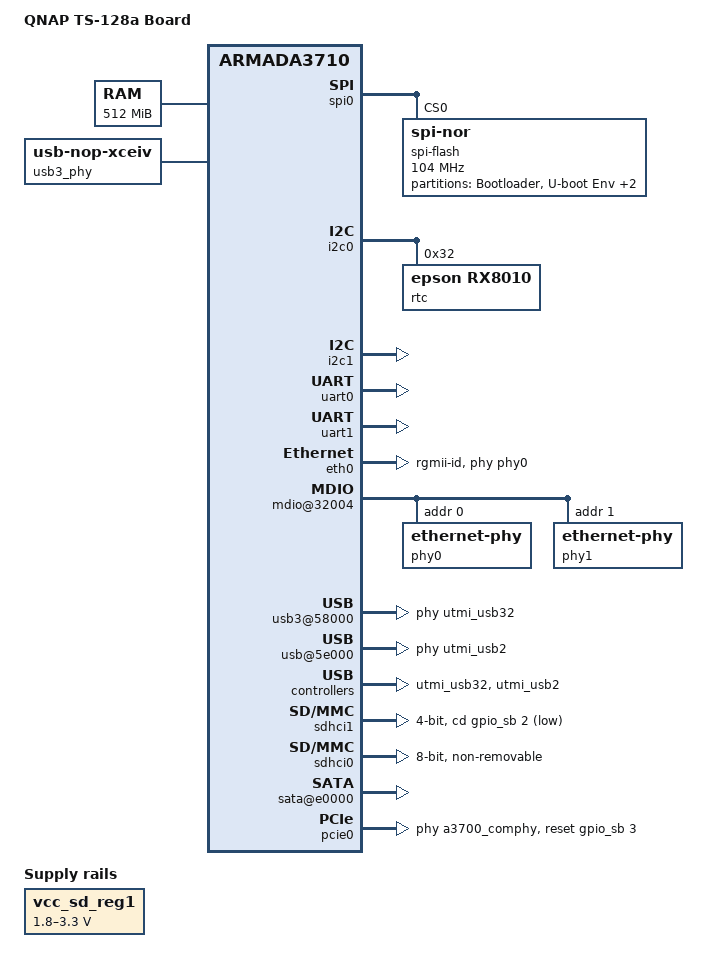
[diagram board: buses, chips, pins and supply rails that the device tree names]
/*
 * Device Tree file for Marvell Armada 3720 development board
 * (DB-88F3720-DDR3)
 * Copyright (C) 2016 Marvell
 *
 * Gregory CLEMENT <gregory.clement@free-electrons.com>
 *
 * This file is dual-licensed: you can use it either under the terms
 * of the GPL or the X11 license, at your option. Note that this dual
 * licensing only applies to this file, and not this project as a
 * whole.
 *
 *  a) This file is free software; you can redistribute it and/or
 *     modify it under the terms of the GNU General Public License as
 *     published by the Free Software Foundation; either version 2 of the
 *     License, or (at your option) any later version.
 *
 *     This file is distributed in the hope that it will be useful
 *     but WITHOUT ANY WARRANTY; without even the implied warranty of
 *     MERCHANTABILITY or FITNESS FOR A PARTICULAR PURPOSE.  See the
 *     GNU General Public License for more details.
 *
 * Or, alternatively
 *
 *  b) Permission is hereby granted, free of charge, to any person
 *     obtaining a copy of this software and associated documentation
 *     files (the "Software"), to deal in the Software without
 *     restriction, including without limitation the rights to use
 *     copy, modify, merge, publish, distribute, sublicense, and/or
 *     sell copies of the Software, and to permit persons to whom the
 *     Software is furnished to do so, subject to the following
 *     conditions:
 *
 *     The above copyright notice and this permission notice shall be
 *     included in all copies or substantial portions of the Software.
 *
 *     THE SOFTWARE IS PROVIDED , WITHOUT WARRANTY OF ANY KIND
 *     EXPRESS OR IMPLIED, INCLUDING BUT NOT LIMITED TO THE WARRANTIES
 *     OF MERCHANTABILITY, FITNESS FOR A PARTICULAR PURPOSE AND
 *     NONINFRINGEMENT. IN NO EVENT SHALL THE AUTHORS OR COPYRIGHT
 *     HOLDERS BE LIABLE FOR ANY CLAIM, DAMAGES OR OTHER LIABILITY
 *     WHETHER IN AN ACTION OF CONTRACT, TORT OR OTHERWISE, ARISING
 *     FROM, OUT OF OR IN CONNECTION WITH THE SOFTWARE OR THE USE OR
 *     OTHER DEALINGS IN THE SOFTWARE.
 */

/dts-v1/;

#include "armada-372x.dtsi"

/ {
	model = "QNAP TS-128a Board";
	compatible = "marvell,armada-3720-db", "marvell,armada3720", "marvell,armada3710";

	chosen {
		stdout-path = "serial0:115200n8";
	};

	memory {
		device_type = "memory";
		reg = <0x00000000 0x00000000 0x00000000 0x20000000>;
	};

	soc {
		internal-regs {
			spi0: spi@10600 {
				status = "okay";

				spi-flash@0 {
					#address-cells = <1>;
					#size-cells = <1>;
					compatible = "jedec,spi-nor";
					reg = <0>; /* Chip select 0 */
					spi-max-frequency = <104000000>;
					m25p,fast-read;

					pinctrl-names = "default";
					pinctrl-0 = <&spi0_pins &spi_quad_pins>;


					partition@0 {
						label = "Bootloader";
						reg = <0 0x100000>;
					};
					partition@100000 {
						label = "U-boot Env";
						reg = <0x100000 0x10000>;
					};
					partition@110000 {
						label = "Kernel DTB";
						reg = <0x110000 0xF0000>;
					};
					partition@200000 {
						label = "ALL partition";
						reg = <0x0 0x200000>;
					};
				};
			};

			i2c0: i2c@11000 {
				status = "okay";
				rtc@32 {
					compatible = "epson,rx8010";
					reg = <0x32>;
				};
			};

			i2c1: i2c@11080 {
				status = "okay";
			};

			/*
			* Exported on the micro USB connector CON32
			* through an FTDI
			*/
			uart0: serial@12000 {
				status = "okay";
			};
            
			uart1: serial@12200 {
				status = "okay";
				pinctrl-names = "default";
				pinctrl-0 = <&uart1_pins>;
			};
            
			eth0: ethernet@30000 {
				phy-mode = "rgmii-id";
				phy = <&phy0>;
				status = "okay";
			};

			mdio@32004 {
				phy0: ethernet-phy@0 {
					reg = <0>;
				};
				phy1: ethernet-phy@1 {
					reg = <1>;
				};
			};

			u3d@50000 {
				status = "disabled";
			};

			udc@54100 {
				status = "disabled";
			};

			/* CON31 */
			usb3@58000 {
                compatible = "generic-xhci";
				status = "okay";
                phys = <&utmi_usb32>, /* utmi usb32 dedicated phy */
                       <&a3700_comphy 0 COMPHY_USB3>; /* usb3 comphy */
                phy-names = "usb2", "usb3";
			};

			usb@5e000 {
				status = "okay";
                phys = <&utmi_usb2>;
                phy-names = "usb";
			};

            utmi_usb32: utmi@5d000 {
                status = "okay";
            };

            utmi_usb2: utmi@5f000 {
                status = "okay";
            };

			interrupt-controller@74840 {
				status = "okay";
			};

			sdhci1: sdhci@d0000 {
				wp-inverted;
				bus-width = <4>;
				cd-gpios = <&gpio_sb 2 GPIO_ACTIVE_LOW>;
				vqmmc-supply = <&vcc_sd_reg1>;
				marvell,pad-type = "sd";
				status = "okay";

				pinctrl-names = "default";
				pinctrl-0 = <&sdio_pins &cd_pins>;
			};

			sdhci0: sdhci@d8000 {
				marvell,pad-type = "fixed-1-8v";
				non-removable;
				bus-width = <8>;
				mmc-ddr-1_8v;
				mmc-hs400-1_8v;
				marvell,xenon-emmc;
				marvell,xenon-tun-count = <9>;
				status = "okay";

				pinctrl-names = "default";
				pinctrl-0 = <&mmc_pins>;
			};

			/* CON3 */
			sata@e0000 {
				status = "okay";
			};
			vcc_sd_reg1: regulator@0 {
				compatible = "regulator-gpio";
				regulator-name = "vcc_sd1";
				regulator-min-microvolt = <1800000>;
				regulator-max-microvolt = <3300000>;
				regulator-boot-on;

				gpios = <&gpio_sb 23 GPIO_ACTIVE_HIGH>;
				gpios-states = <0>;
				states = <1800000 0x1
					  3300000 0x0>;

				enable-active-high;
			};
		};
	};

	usb3_phy: usb3-phy {
		compatible = "usb-nop-xceiv";
	};
};

/* CON17 (PCIe) / CON12 (mini-PCIe) */
&pcie0 {
	status = "okay";
    phys = <&a3700_comphy 1 COMPHY_PCIE0>;
    phy-names = "comphy";
    reset-gpios = <&gpio_sb 3 GPIO_ACTIVE_HIGH>;
};
